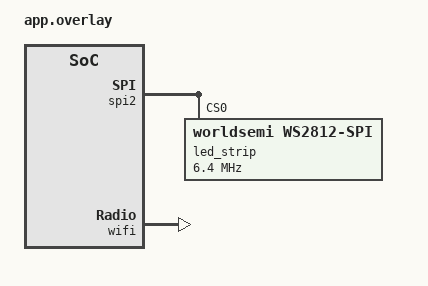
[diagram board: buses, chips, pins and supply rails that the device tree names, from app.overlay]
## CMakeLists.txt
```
#-------------------------------------------------------------------------------
# ZLED Frame Project
#
# Copyright (c) 2024 Jakub Duchniewicz
# SPDX-License-Identifier: Apache-2.0

cmake_minimum_required(VERSION 3.20.0)
find_package(Zephyr REQUIRED HINTS $ENV{ZEPHYR_BASE})

project(zled_frame LANGUAGES C)

target_sources(app PRIVATE
            src/main.c
            src/pixels.c
            src/network.c)

set(gen_dir ${ZEPHYR_BINARY_DIR}/include/generated/)

foreach(inc_file
	served_content.html.bin
    )
  generate_inc_file_for_target(
    app
    src/${inc_file}
    ${gen_dir}/${inc_file}.inc
    )
endforeach()
```

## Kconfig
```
# Copyright (c) 2021 Nordic Semiconductor ASA
# SPDX-License-Identifier: Apache-2.0
#
# This file is the application Kconfig entry point. All application Kconfig
# options can be defined here or included via other application Kconfig files.
# You can browse these options using the west targets menuconfig (terminal) or
# guiconfig (GUI).

menu "Zephyr"
source "Kconfig.zephyr"
endmenu

module = ZLED_FRAME
module-str = ZLED_FRAME
source "subsys/logging/Kconfig.template.log_config"
```

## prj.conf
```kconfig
# Copyright (c) 2021 Nordic Semiconductor ASA
# SPDX-License-Identifier: Apache-2.0
#
# This file contains selected Kconfig options for the application.

CONFIG_LOG=y
CONFIG_SPI=y
CONFIG_LED_STRIP=y
CONFIG_WS2812_STRIP=y

## Copied over from the sample - to reduce
# POSIX options
CONFIG_POSIX_MAX_FDS=20

# Networking config
CONFIG_NETWORKING=y
CONFIG_NET_IPV4=y
CONFIG_NET_IPV6=n # it is set to yes either way
CONFIG_NET_TCP=y
CONFIG_NET_UDP=n
CONFIG_NET_SOCKETS=y
CONFIG_NET_SOCKETS_POSIX_NAMES=y
CONFIG_NET_MAX_CONN=20
CONFIG_NET_MAX_CONTEXTS=20
CONFIG_NET_STATISTICS=y
CONFIG_NET_CONNECTION_MANAGER=y

# Network buffers
CONFIG_NET_PKT_RX_COUNT=96
CONFIG_NET_PKT_TX_COUNT=96
CONFIG_NET_BUF_RX_COUNT=128
CONFIG_NET_BUF_TX_COUNT=128
CONFIG_NET_CONTEXT_NET_PKT_POOL=y
CONFIG_NET_BUF_POOL_USAGE=y

# IP address options
CONFIG_NET_IF_UNICAST_IPV6_ADDR_COUNT=3
CONFIG_NET_IF_MCAST_IPV6_ADDR_COUNT=4

# Network address config
CONFIG_NET_CONFIG_SETTINGS=y
CONFIG_NET_CONFIG_NEED_IPV4=y
CONFIG_NET_CONFIG_MY_IPV4_ADDR="192.168.0.230"
CONFIG_NET_CONFIG_PEER_IPV4_ADDR="192.168.0.231"
# TODO: seems like I NEED ipv6 otherwise crashes on second HTTP request
CONFIG_NET_CONFIG_NEED_IPV6=y
CONFIG_NET_CONFIG_MY_IPV6_ADDR="2001:db8::1"
CONFIG_NET_CONFIG_PEER_IPV6_ADDR="2001:db8::2"

# Network debug config
CONFIG_NET_LOG=y
CONFIG_NET_SHELL=y

# This is needed so that the sample app can respond to queries
# as fast as possible.
CONFIG_NET_TCP_TIME_WAIT_DELAY=0

# This is needed for Wi-Fi connections
CONFIG_NET_L2_WIFI_SHELL=y

CONFIG_ESP_HEAP_MEM_POOL_REGION_1_SIZE=1024
# is this necessary?
CONFIG_HEAP_MEM_POOL_SIZE=98304


## overlays for ESP32
CONFIG_WIFI=y
CONFIG_NET_L2_ETHERNET=y
CONFIG_NET_DHCPV4=y
CONFIG_ESP32_WIFI_STA_AUTO_DHCPV4=y
```

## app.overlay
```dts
/*
 * Copyright (c) 2024 Jakub Duchniewicz
 *
 * SPDX-License-Identifier: Apache-2.0
 */

#include <zephyr/dt-bindings/led/led.h>

&spi2 {
	/* Workaround to support WS2812 driver */
	line-idle-low;

        led_strip: ws2812@0 {
                compatible = "worldsemi,ws2812-spi";

                /* SPI */
                reg = <0>; /* ignored, but necessary for SPI bindings */
                spi-max-frequency = <6400000>;

                /* WS2812 */
                chain-length = <256>; /* arbitrary; change at will */
                spi-cpha;
                spi-one-frame = <0xf0>; /* 11110000: 625 ns high and 625 ns low */
                spi-zero-frame = <0xc0>; /* 11000000: 312.5 ns high and 937.5 ns low */
                color-mapping = <LED_COLOR_ID_GREEN
                                 LED_COLOR_ID_RED
                                 LED_COLOR_ID_BLUE>;
        };
};

&wifi {
    status = "okay";
};

/ {
        aliases {
                led-strip = &led_strip;
        };
};
```

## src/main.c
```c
/*
 * Copyright (c) 2024 Jakub Duchniewicz
 * SPDX-License-Identifier: Apache-2.0
 */

#include <errno.h>

#include "pixels.h"
#include "network.h"

#include <zephyr/kernel.h>
#include <zephyr/device.h>
#include <zephyr/drivers/spi.h>

#include <zephyr/logging/log.h>
LOG_MODULE_REGISTER(main, CONFIG_ZLED_FRAME_LOG_LEVEL); // TODO: how does it work? Can have just one instance?

#define STRIP_NODE DT_ALIAS(led_strip)

static const struct device *const strip = DEVICE_DT_GET(STRIP_NODE);

int main(void)
{
    int rc;

    if (device_is_ready(strip))
    {
        LOG_INF("Found LED strip device %s", strip->name);
    }
    else
    {
        LOG_INF("LED strip device %s is not ready", strip->name);
        return 0;
    }

    LOG_INF("Starting networking threads");
    start_listener();

    LOG_INF("Starting pixel update thread");
    start_pixel_update_thread(strip);

    LOG_INF("Displaying pattern on strip");

    // TODO: add network error propagation? Hard reset of the board?
    // Move the led updating code to another thread and get the data from network
    // cycle the colors on the strip
    while (1)
    {
        k_sleep(K_FOREVER);
    }

    return 0;
}
```

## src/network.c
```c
/*
 * Copyright (c) 2019 Intel Corporation
 *
 * SPDX-License-Identifier: Apache-2.0
 */

#include "network.h"

#include <zephyr/logging/log.h>
#define LOG_LEVEL LOG_LEVEL_DBG
LOG_MODULE_REGISTER(networking); // TODO: how does it work?

#if defined(CONFIG_NET_IPV4)
K_THREAD_STACK_ARRAY_DEFINE(tcp4_handler_stack, CONFIG_NET_SAMPLE_NUM_HANDLERS,
							STACK_SIZE);
static struct k_thread tcp4_handler_thread[CONFIG_NET_SAMPLE_NUM_HANDLERS];
static k_tid_t tcp4_handler_tid[CONFIG_NET_SAMPLE_NUM_HANDLERS];
#endif

#if defined(CONFIG_NET_IPV6)
// TODO: somehow in the original sample IPv6 is mandatory - otherwise we get a crash upon second HTTP request?
K_THREAD_STACK_ARRAY_DEFINE(tcp6_handler_stack, CONFIG_NET_SAMPLE_NUM_HANDLERS,
							STACK_SIZE);
static struct k_thread tcp6_handler_thread[CONFIG_NET_SAMPLE_NUM_HANDLERS];
static k_tid_t tcp6_handler_tid[CONFIG_NET_SAMPLE_NUM_HANDLERS];
#endif

static struct net_mgmt_event_callback mgmt_cb;
static bool connected;
K_SEM_DEFINE(run_app, 0, 1);
K_SEM_DEFINE(quit_lock, 0, 1);
static bool running_status;
static bool want_to_quit;

static int tcp4_listen_sock;
static int tcp4_accepted[CONFIG_NET_SAMPLE_NUM_HANDLERS];

static int tcp6_listen_sock;
static int tcp6_accepted[CONFIG_NET_SAMPLE_NUM_HANDLERS];

static void process_tcp4(void);
static void process_tcp6(void);

K_THREAD_DEFINE(tcp4_thread_id, STACK_SIZE,
				process_tcp4, NULL, NULL, NULL,
				THREAD_PRIORITY, 0, -1);

K_THREAD_DEFINE(tcp6_thread_id, STACK_SIZE,
				process_tcp6, NULL, NULL, NULL,
				THREAD_PRIORITY, 0, -1);

#define RECEIVE_BUF_LEN 128

static endpoint_t valid_endpoints[NUMBER_OF_ENDPOINTS] = {
	{"/", GET}, // TODO :add handling for favicon lol
	{"/api/image", POST},
};

static const char *magic_number = "BADAB00D";

char received_image[MAX_IMAGE_SIZE];
static size_t rcv_img_offset;
K_SEM_DEFINE(image_semaphore, 0, 1);

void event_handler(struct net_mgmt_event_callback *cb,
				   uint32_t mgmt_event, struct net_if *iface)
{
	if ((mgmt_event & EVENT_MASK) != mgmt_event)
	{
		return;
	}

	if (mgmt_event == NET_EVENT_L4_CONNECTED)
	{
		LOG_INF("Network connected");

		connected = true;
		k_sem_give(&run_app);

		return;
	}

	if (mgmt_event == NET_EVENT_L4_DISCONNECTED)
	{
		if (connected == false)
		{
			LOG_INF("Waiting network to be connected");
		}
		else
		{
			LOG_INF("Network disconnected");
			connected = false;
		}

		k_sem_reset(&run_app);

		return;
	}
}

static ssize_t sendall(int sock, const void *buf, size_t len)
{
	while (len)
	{
		ssize_t out_len = send(sock, buf, len, 0);

		if (out_len < 0)
		{
			return out_len;
		}

		buf = (const char *)buf + out_len;
		len -= out_len;
	}

	return 0;
}

static int setup(int *sock, struct sockaddr *bind_addr,
				 socklen_t bind_addrlen)
{
	int ret;

	*sock = socket(bind_addr->sa_family, SOCK_STREAM, IPPROTO_TCP);
	if (*sock < 0)
	{
		LOG_ERR("Failed to create TCP socket: %d", errno);
		return -errno;
	}

	ret = bind(*sock, bind_addr, bind_addrlen);
	if (ret < 0)
	{
		LOG_ERR("Failed to bind TCP socket %d", errno);
		return -errno;
	}

	ret = listen(*sock, MAX_CLIENT_QUEUE);
	if (ret < 0)
	{
		LOG_ERR("Failed to listen on TCP socket %d", errno);
		ret = -errno;
	}

	return ret;
}

// add the method + endpoint choosing method:

// TODO: endpoint choosing done properly - but do this later - first check the endpoint - integrate to my code and then build on top of that
//
// // TODO :how to handle multipackets

static int parse_header(char *buf, int buf_size, char *endpoint, int endpoint_size, method_t *method)
{
	char *ptr = buf, *delim_pos = NULL;
	int len = 0;
	if (strstr(ptr, "GET"))
	{
		*method = GET;
		ptr += 4; // +1 for whitespace
	}
	else if (strstr(ptr, "POST"))
	{
		*method = POST;
		ptr += 5;
	}
	else
	{
		LOG_ERR("Unknown method found!");
		return -1;
	}

	delim_pos = strchr(ptr, ' ');
	len = delim_pos - ptr;
	if (len + 1 > endpoint_size)
	{
		LOG_ERR("Too long endpoint name! Max allowed: %d", endpoint_size);
		return -1;
	}

	strncpy(endpoint, ptr, len);
	*(endpoint + len) = '\0'; // null-terminate it

	LOG_DBG("Found method of type: %d with endpoint name: %s", *method, endpoint);

	return 0;
}

static int handle_endpoint(int client, char *endpoint_buf, method_t method, char *buf, int buf_len)
{
	//k_sleep(K_MSEC(1)); // TODO: make it cleaner
	// GET /
	if (strncmp(valid_endpoints[0].name, endpoint_buf, strlen(endpoint_buf)) == 0)
	{
		// here we don't need to check any return values and can directly return the page to render
		LOG_ERR("Sending the data to the client!");
		(void)sendall(client, content, sizeof(content));
		return 0;
	}
	else if (strncmp(valid_endpoints[1].name, endpoint_buf, strlen(endpoint_buf)) == 0)
	{
		LOG_ERR("Handling POST /api/image");
		static bool read_header = false;
		uint8_t length = 0u;

		// print buffer contents
		//LOG_ERR("Received data: %.*s", buf_len, buf);

		if (read_header) 
		{	
			LOG_ERR("rcv_img_offset + buf_len: %d MAX_IMAGE_SIZE: %d", rcv_img_offset + buf_len, MAX_IMAGE_SIZE);
			// for now this will inform that we handled all
			if (rcv_img_offset + buf_len >= MAX_IMAGE_SIZE)
			{
				LOG_ERR("Stop accepting - Trying to send more data than Image can accept.");
				length = MAX_IMAGE_SIZE - rcv_img_offset;
				if (length > 0)
				{
					// this contains raw binary data - 0 is null terminator there :)
					memcpy(received_image + rcv_img_offset, buf, length);
					//strncpy(received_image + rcv_img_offset, buf, length);
					//LOG_ERR("Copied the rest of the data");
				}
				// TODO: also skip the header part and only get the raw data
				// TODO: where should it be placed?
				rcv_img_offset = 0;
				read_header = false;

				// Give the semaphore to notify that a new image is ready
				k_sem_give(&image_semaphore);

				// sleep a short amount so that the waiting thread can read the data - TODO: make it cleaner
				k_sleep(K_MSEC(20));
				// Wait for the image to be processed
				k_sem_take(&image_semaphore, K_FOREVER);
				return 0;
			}

			//LOG_ERR("Position: %d", rcv_img_offset);

			memcpy(received_image + rcv_img_offset, buf, buf_len);
			//strncpy(received_image + rcv_img_offset, buf, buf_len);

			rcv_img_offset += buf_len;
			return -1;
		}

		// until get the magic number, keep reading the header 0xBADAD00B
		// there is a slight chance that the magic number will be split between two packets - but for now we don't handle it
		// TODO: handle it later
		char * pos = strstr(buf, magic_number);
		if (pos) 
		{
			LOG_ERR("Found the magic number!");
			read_header = true;
			
			// read the remainder as the image data
			rcv_img_offset = 0;
			length = buf_len - (pos - buf) - strlen(magic_number);
			//LOG_ERR("buf_len: %d pos - buf: %d strlen(magic_number): %d length: %d", buf_len, pos - buf, strlen(magic_number), length);
			memcpy(received_image, pos + strlen(magic_number), length);
			//strncpy(received_image, pos + strlen(magic_number), length);
			rcv_img_offset += length;
			//LOG_ERR("position: %d", rcv_img_offset);
		}
		LOG_ERR("Still parsing the header");
		return -1;
	}

	/* TODO: when to use those
		if (strstr(buf, "\r\n\r\nOK")) {
			LOG_ERR("Received OK");
			running_status = true;
			want_to_quit = true;
			k_sem_give(&quit_lock);
			break;
		} else if (strstr(buf, "\r\n\r\nFAIL")) {
			LOG_ERR("Received FAIL");
			running_status = false;
			want_to_quit = true;
			k_sem_give(&quit_lock);
			break;
		}
	*/
	LOG_ERR("Unknown endpoint and header!");
	return 0;
}

static void client_conn_handler(void *ptr1, void *ptr2, void *ptr3)
{
	ARG_UNUSED(ptr1);
	int *sock = ptr2;
	k_tid_t *in_use = ptr3;
	int client;
	int received;
	int ret;
	char buf[RECEIVE_BUF_LEN];

	// my things added for handling of the endpoints - TODO: refactor it later to be more composable
	char endpoint_buf[20];
	bool parsed_header = false;
	method_t method;

	client = *sock;

	do
	{
		received = recv(client, buf, sizeof(buf), 0);

		if (received == 0)
		{
			/* Connection closed */
			LOG_DBG("[%d] Connection closed by peer", client);
			break;
		}
		else if (received < 0)
		{
			/* Socket error */
			ret = -errno;
			LOG_ERR("[%d] Connection error %d", client, ret);
			break;
		}

		LOG_DBG("[%d] Received data: %.*s", client, received, buf);

		if (!parsed_header)
		{
			if (parse_header(buf, sizeof(buf), endpoint_buf, sizeof(endpoint_buf), &method) != 0)
			{
				LOG_ERR("[%d] Could not parse header", client);
				break;
			}
			parsed_header = true;
		} // TODO: add sending the data to the proper endpoint later

		/* Note that something like this strstr() check should *NOT*
		 * be used in production code. This is done like this just
		 * for this sample application to keep things simple.
		 *
		 * We are assuming here that the full HTTP request is received
		 * in one TCP segment which in real life might not.
		 */
		// if (strstr(buf, "\r\n\r\n")) { // TODO: how to check it received all data though?
		//     LOG_ERR("END OF PACKET RECEIVED");
		//	break;
		// }
		if (handle_endpoint(client, endpoint_buf, method, buf, RECEIVE_BUF_LEN) == 0)
		{
			LOG_ERR("Handled the endpoint - exiting.");
			break;
		}
	} while (true);

	(void)close(client);

	*sock = -1;
	*in_use = NULL;
}

static int get_free_slot(int *accepted)
{
	int i;

	for (i = 0; i < CONFIG_NET_SAMPLE_NUM_HANDLERS; i++)
	{
		if (accepted[i] < 0)
		{
			return i;
		}
	}

	return -1;
}

static int process_tcp(int *sock, int *accepted)
{
	static int counter;
	int client;
	int slot;
	struct sockaddr_in6 client_addr;
	socklen_t client_addr_len = sizeof(client_addr);

	client = accept(*sock, (struct sockaddr *)&client_addr,
					&client_addr_len);
	if (client < 0)
	{
		LOG_ERR("Error in accept %d, stopping server", -errno);
		return -errno;
	}

	slot = get_free_slot(accepted);
	if (slot < 0 || slot >= CONFIG_NET_SAMPLE_NUM_HANDLERS)
	{
		LOG_ERR("Cannot accept more connections");
		close(client);
		return 0;
	}

	accepted[slot] = client;

#if defined(CONFIG_NET_IPV6)
	if (client_addr.sin6_family == AF_INET6)
	{
		tcp6_handler_tid[slot] = k_thread_create(
			&tcp6_handler_thread[slot],
			tcp6_handler_stack[slot],
			K_THREAD_STACK_SIZEOF(tcp6_handler_stack[slot]),
			client_conn_handler,
			INT_TO_POINTER(slot),
			&accepted[slot],
			&tcp6_handler_tid[slot],
			THREAD_PRIORITY,
			0, K_NO_WAIT);
	}
#endif

#if defined(CONFIG_NET_IPV4)
	if (client_addr.sin6_family == AF_INET)
	{
		tcp4_handler_tid[slot] = k_thread_create(
			&tcp4_handler_thread[slot],
			tcp4_handler_stack[slot],
			K_THREAD_STACK_SIZEOF(tcp4_handler_stack[slot]),
			client_conn_handler,
			INT_TO_POINTER(slot),
			&accepted[slot],
			&tcp4_handler_tid[slot],
			THREAD_PRIORITY,
			0, K_NO_WAIT);
	}
#endif

	if (LOG_LEVEL >= LOG_LEVEL_DBG)
	{
		char addr_str[INET6_ADDRSTRLEN];

		net_addr_ntop(client_addr.sin6_family,
					  &client_addr.sin6_addr,
					  addr_str, sizeof(addr_str));

		LOG_DBG("[%d] Connection #%d from %s",
				client, ++counter,
				addr_str);
	}

	return 0;
}

static void process_tcp4(void)
{
	struct sockaddr_in addr4;
	int ret;

	(void)memset(&addr4, 0, sizeof(addr4));
	addr4.sin_family = AF_INET;
	addr4.sin_port = htons(MY_PORT);

	ret = setup(&tcp4_listen_sock, (struct sockaddr *)&addr4,
				sizeof(addr4));
	if (ret < 0)
	{
		return;
	}

	LOG_DBG("Waiting for IPv4 HTTP connections on port %d, sock %d",
			MY_PORT, tcp4_listen_sock);

	while (ret == 0 || !want_to_quit)
	{
		ret = process_tcp(&tcp4_listen_sock, tcp4_accepted);
		if (ret < 0)
		{
			return;
		}
	}
}

static void process_tcp6(void)
{
	struct sockaddr_in6 addr6;
	int ret;

	(void)memset(&addr6, 0, sizeof(addr6));
	addr6.sin6_family = AF_INET6;
	addr6.sin6_port = htons(MY_PORT);

	ret = setup(&tcp6_listen_sock, (struct sockaddr *)&addr6,
				sizeof(addr6));
	if (ret < 0)
	{
		return;
	}

	LOG_DBG("Waiting for IPv6 HTTP connections on port %d, sock %d",
			MY_PORT, tcp6_listen_sock);

	while (ret == 0 || !want_to_quit)
	{
		ret = process_tcp(&tcp6_listen_sock, tcp6_accepted);
		if (ret != 0)
		{
			return;
		}
	}
}

void start_listener(void)
{
	int i;

	for (i = 0; i < CONFIG_NET_SAMPLE_NUM_HANDLERS; i++)
	{
#if defined(CONFIG_NET_IPV4)
		tcp4_accepted[i] = -1;
		tcp4_listen_sock = -1;
#endif
#if defined(CONFIG_NET_IPV6)
		tcp6_accepted[i] = -1;
		tcp6_listen_sock = -1;
#endif
	}

	if (IS_ENABLED(CONFIG_NET_IPV6))
	{
		k_thread_start(tcp6_thread_id);
	}

	if (IS_ENABLED(CONFIG_NET_IPV4))
	{
		k_thread_start(tcp4_thread_id);
	}
}
```

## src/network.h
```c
#include <zephyr/kernel.h>
#include <errno.h>
#include <zephyr/net/net_ip.h>
#include <zephyr/net/socket.h>

#include <zephyr/net/net_mgmt.h>
#include <zephyr/net/net_event.h>
#include <zephyr/net/conn_mgr_monitor.h>

#define MY_PORT 8080

#define STACK_SIZE 1024

#if defined(CONFIG_NET_TC_THREAD_COOPERATIVE)
#define THREAD_PRIORITY K_PRIO_COOP(CONFIG_NUM_COOP_PRIORITIES - 1)
#else
#define THREAD_PRIORITY K_PRIO_PREEMPT(8)
#endif

static const char content[] = {
#include "served_content.html.bin.inc"
};

#define CONFIG_NET_SAMPLE_NUM_HANDLERS 4 // TODO: where does it come from? (2 set in the sample dummy app)
#define MAX_CLIENT_QUEUE CONFIG_NET_SAMPLE_NUM_HANDLERS

#define EVENT_MASK (NET_EVENT_L4_CONNECTED | \
                    NET_EVENT_L4_DISCONNECTED)

typedef enum
{
    GET = 0,
    POST,
    UNKNOWN,
} method_t;

// TODO: think of more robust way of handling it
#define NUMBER_OF_ENDPOINTS 2

typedef struct
{
    const char *name;
    uint8_t methods; // bitmap of allowed methods
} endpoint_t;

// API
void start_listener(void);

#define MAX_IMAGE_SIZE (16 * 16 * 3 * sizeof(uint8_t))
extern char received_image[MAX_IMAGE_SIZE];
extern struct k_sem image_semaphore;
```

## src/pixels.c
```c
#include "pixels.h"
#include "network.h"

#include <zephyr/kernel.h>

#include <string.h>

#include <zephyr/logging/log.h>
#define LOG_LEVEL LOG_LEVEL_DBG
LOG_MODULE_REGISTER(pixels); // TODO: how does it work?

int display_preset_pattern(const struct device *const strip);
int display_network_image(const struct device *const strip);
int display_calibration_pattern(const struct device *const strip);

struct led_rgb pixels[STRIP_NUM_PIXELS];

size_t cursor = 0, color = 0;
// TODO: later can trigger it from the web?
const int mode = 2; // 0 - preset pattern, 1 - network, 2 - calibration pattern

static const struct led_rgb colors[] = {
    RGB(0xff, 0x00, 0x00), /* red */
    RGB(0x00, 0xff, 0x00), /* green */
    RGB(0x00, 0x00, 0xff), /* blue */
};

#define STACKSIZE 1024
#define PRIORITY 7

K_THREAD_STACK_DEFINE(pixel_update_thread_stack, STACKSIZE);
struct k_thread pixel_update_thread_data;

void pixel_update_thread(void *arg1, void *arg2, void *arg3)
{
    const struct device *strip = arg1;

    while (1)
    {
        if (mode == 0)
        {
            display_preset_pattern(strip);
            k_sleep(K_MSEC(5000));
        }
        else if (mode == 1)
        {
            display_network_image(strip);
        }
        else if (mode == 2)
        {
            display_calibration_pattern(strip);
        }
        k_sleep(K_MSEC(1)); // Sleep for a short time to prevent busy waiting
    }
}

void start_pixel_update_thread(const struct device *strip)
{
    k_thread_create(&pixel_update_thread_data, pixel_update_thread_stack,
                    K_THREAD_STACK_SIZEOF(pixel_update_thread_stack),
                    pixel_update_thread,
                    (void *)strip, NULL, NULL,
                    PRIORITY, 0, K_NO_WAIT);
}

int display_calibration_pattern(const struct device *const strip)
{
    // several patterns here - first rising brightness, then falling, then rainbow
    int rc;

    memset(pixels, 0x00, sizeof(pixels));

    // rising brightness
    for (int i = 0; i < STRIP_NUM_PIXELS; ++i)
    {
        pixels[i] = RGB(i, i, i);
    }
    rc = led_strip_update_rgb(strip, pixels, STRIP_NUM_PIXELS);
    if (rc)
    {
        return rc;
    }
    k_sleep(K_MSEC(5000));

    // falling brightness
    for (int i = 0; i < STRIP_NUM_PIXELS; ++i)
    {
        pixels[i] = RGB(STRIP_NUM_PIXELS - i, STRIP_NUM_PIXELS - i, STRIP_NUM_PIXELS - i);
    }
    rc = led_strip_update_rgb(strip, pixels, STRIP_NUM_PIXELS);
    if (rc)
    {
        return rc;
    }
    k_sleep(K_MSEC(5000));

    // rainbow
    for (int i = 0; i < STRIP_NUM_PIXELS; ++i)
    {
        pixels[i] = RGB(i, STRIP_NUM_PIXELS - i, STRIP_NUM_PIXELS - i);
    }
    rc = led_strip_update_rgb(strip, pixels, STRIP_NUM_PIXELS);
    if (rc)
    {
        return rc;
    }
    k_sleep(K_MSEC(5000));

    return 0;
}

int display_preset_pattern(const struct device *const strip)
{
    int rc;

    memset(&pixels, 0x00, sizeof(pixels));
    memcpy(&pixels[cursor], &colors[color], sizeof(struct led_rgb));
    rc = led_strip_update_rgb(strip, pixels, STRIP_NUM_PIXELS);

    if (rc)
    {
        return rc;
    }

    cursor++;
    if (cursor >= STRIP_NUM_PIXELS)
    {
        cursor = 0;
        color++;
        if (color == ARRAY_SIZE(colors))
        {
            color = 0;
        }
    }
    return 0;
}

int display_network_image(const struct device *const strip)
{
    int rc;

    // Wait for the semaphore indicating a new image is ready
    if (k_sem_take(&image_semaphore, K_NO_WAIT) == 0)
    {
        LOG_ERR("Received image - semaphore taken");
        //  Copy the received image to the pixels array
        // print the received image
        /*
        for (int i = 0; i < STRIP_NUM_PIXELS / 16; i++)
        {
            LOG_ERR("Received image - pixel %d: %d %d %d", i, received_image[i * 3], received_image[i * 3 + 1], received_image[i * 3 + 2]);
            if (i % 16)
                k_sleep(K_MSEC(3)); // sleep to prevent logs from being dropped
        }
        */
        memset(pixels, 0x00, sizeof(pixels));
        // TODO: optimize the algo
        // convert pixel data to led_rgb
        size_t index = 0;
        for (int i = 0; i < STRIP_LINE_LENGTH; ++i)
        {
            for (int j = 0; j < STRIP_LINE_LENGTH; ++j)
            {
                // since the led strip is sequential, we have to reverse every second line
                if (i % 2 == 0)
                {
                    pixels[index] = RGB(received_image[index * 3], received_image[index * 3 + 1], received_image[index * 3 + 2]);
                }
                else
                {
                    size_t reversed_index = i * STRIP_LINE_LENGTH + STRIP_LINE_LENGTH - j - 1;
                    pixels[index] = RGB(received_image[reversed_index * 3], received_image[reversed_index * 3 + 1], received_image[reversed_index * 3 + 2]);
                }
                if (index < 16)
                    LOG_ERR("Set pixel %d: %d %d %d", index, pixels[index].r, pixels[index].g, pixels[index].b);
                ++index;
            }
        }

        // Update the LED strip with the new image
        rc = led_strip_update_rgb(strip, pixels, STRIP_NUM_PIXELS);

        if (rc)
        {
            return rc;
        }
        LOG_ERR("Finished image drawing");
    }

    return 0;
}
```

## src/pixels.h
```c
#pragma once

#include <zephyr/device.h>
#include <zephyr/drivers/led_strip.h>

#define STRIP_NUM_PIXELS DT_PROP(DT_ALIAS(led_strip), chain_length)
#define STRIP_LINE_LENGTH (16)

#define RGB(_r, _g, _b)                 \
    (struct led_rgb)                    \
    {                                   \
        .r = (_r), .g = (_g), .b = (_b) \
    }

void start_pixel_update_thread(const struct device *strip);

extern struct led_rgb pixels[STRIP_NUM_PIXELS];
extern size_t cursor, color;
```
